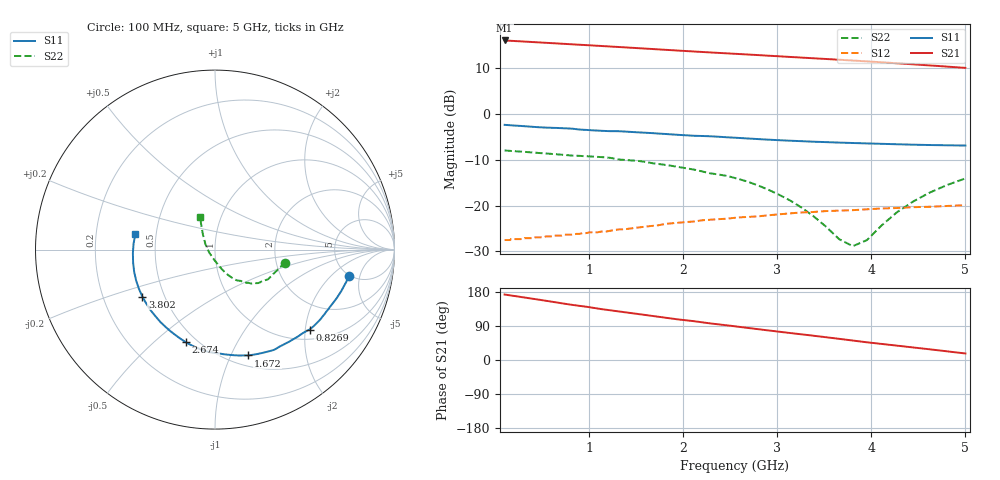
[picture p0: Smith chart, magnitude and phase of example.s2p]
! RFSim95 S parameter simulation result
# MHz MA
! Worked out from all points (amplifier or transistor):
!   101 points, 100 MHz to 5 GHz, reference 50 ohm
!   highest |S21| = 16.1 dB at 100 MHz (marker M1)
!   |S21| within 3 dB of that: start of sweep to 2.627 GHz
!   unconditionally stable (mu >= 1): start of sweep to end of sweep
!   at 187 MHz: K = 1.07, MAG = 20.0 dB, |S12| = -27.3 dB
!   at 707.1 MHz: K = 1.14, MAG = 18.7 dB, |S12| = -26.6 dB
!   at 5 GHz: K = 1.33, MAG = 11.6 dB, |S12| = -19.9 dB
!   S11 on the Smith chart (normalised r, x): 100 MHz: 4.91, -3.43; 826.9 MHz: 1.24, -2.11; 1.672 GHz: 0.61, -1.17; 2.674 GHz: 0.44, -0.64; 3.802 GHz: 0.38, -0.26; 5 GHz: 0.38, +0.08
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100  0.761 -11.1  6.353 172.8  0.042 17.8  0.399 -10.7
459.8311  0.717 -26.0  6.054 159.4  0.045 11.6  0.375 -14.9
679.9787  0.702 -34.5  5.876 150.8  0.047 12.2  0.361 -19.6
826.8825  0.69 -40.2  5.758 145.2  0.048 13.3  0.351 -23.0
929.85  0.673 -44.5  5.679 141.8  0.05 14.0  0.347 -24.8
1130.736  0.655 -52.8  5.526 134.2  0.052 15.2  0.338 -29.3
1271.541  0.649 -58.0  5.419 129.6  0.054 15.3  0.325 -31.8
1486.926  0.633 -65.5  5.259 122.4  0.057 15.1  0.309 -36.4
1672.085  0.618 -72.5  5.122 116.3  0.06 15.1  0.29 -40.1
1738.794  0.611 -74.8  5.073 114.0  0.061 15.0  0.284 -41.4
1955.317  0.591 -82.5  4.918 106.8  0.065 13.9  0.263 -44.7
2198.803  0.575 -90.9  4.757 99.5  0.069 12.5  0.236 -49.4
2571.255  0.549 -103.9  4.53 88.2  0.074 9.7  0.197 -56.7
2673.836  0.541 -107.4  4.47 85.1  0.075 8.9  0.184 -58.8
3006.796  0.518 -118.7  4.272 75.0  0.08 5.9  0.133 -67.2
3381.217  0.498 -131.8  4.06 64.2  0.085 2.0  0.077 -81.6
3656.389  0.487 -141.7  3.912 55.9  0.088 -1.0  0.043 -112.0
3802.263  0.482 -147.1  3.835 51.4  0.089 -2.6  0.036 -146.5
3953.956  0.477 -152.7  3.753 46.7  0.091 -4.3  0.042 176.8
4275.739  0.467 -164.6  3.577 37.8  0.094 -8.4  0.085 135.9
4623.71  0.458 -177.4  3.388 28.1  0.097 -12.9  0.139 121.7
5000  0.452 168.7  3.187 17.2  0.101 -17.8  0.198 114.2
